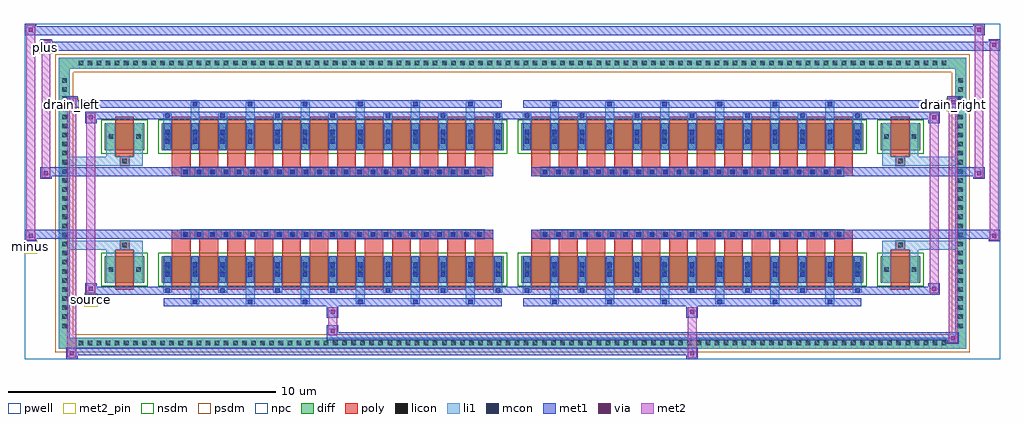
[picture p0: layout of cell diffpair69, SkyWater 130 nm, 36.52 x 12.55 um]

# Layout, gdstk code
import gdstk
lib = gdstk.Library(unit=1e-6, precision=5e-09)
def R(c, l, rs):  # rectangles x0, y0, x1, y1
    for r in rs: c.add(gdstk.rectangle(r[:2], r[2:], *l))
def A(c, l, x, y, w, h, nx, ny, dx, dy):  # array of equal rectangles
    R(c, l, [(x+i*dx, y+j*dy, x+i*dx+w, y+j*dy+h) for i in range(nx) for j in range(ny)])
def P(c, l, *ps):  # polygons
    for p in ps: c.add(gdstk.Polygon(p, *l))
pwell = (64, 44)
diff = (65, 20)
poly = (66, 20)
licon = (66, 44)
li1 = (67, 20)
mcon = (67, 44)
met1 = (68, 20)
via = (68, 44)
met2_pin = (69, 16)
met2 = (69, 20)
nsdm = (93, 44)
psdm = (94, 20)
npc = (95, 20)

diffpair69 = lib.new_cell('diffpair69')
R(diffpair69, pwell, [(-18.24,-5.84,18.24,6.71), (-15.56,-4.03,-0.01,-0.805), (0.01,-4.03,15.56,-0.805), (-15.56,0.805,-0.01,4.03), (0.01,0.805,15.56,4.03)])
A(diffpair69, diff, -16.355, -5.44, 0.41, 0.41, 96, 2, 0.34, 10.47)
A(diffpair69, diff, -16.97, -4.795, 0.41, 0.41, 1, 28, 0, 0.34)
A(diffpair69, diff, 16.56, -4.795, 0.41, 0.41, 1, 28, 0, 0.34)
R(diffpair69, diff, [(-16.355,-5.44,16.355,-5.03), (-16.97,-4.795,-16.56,4.795), (16.56,-4.795,16.97,4.795), (-15.25,-2.985,-13.77,-1.985), (-13.13,-2.985,-0.32,-1.985), (0.32,-2.985,13.13,-1.985), (13.77,-2.985,15.25,-1.985), (-15.25,1.985,-13.77,2.985), (-13.13,1.985,-0.32,2.985), (0.32,1.985,13.13,2.985), (13.77,1.985,15.25,2.985), (-16.355,5.03,16.355,5.44)])
P(diffpair69, diff, [(16.97,5.44),(-16.97,5.44),(-16.97,-5.03),(-16.56,-5.03),(-16.56,5.03),(16.56,5.03),(16.56,-5.03),(-16.56,-5.03),(-16.97,-5.03),(-16.97,-5.44),(16.97,-5.44)])
A(diffpair69, poly, -12.74, -3.235, 0.7, 1.5, 12, 2, 1.03, 4.97)
A(diffpair69, poly, 0.71, -3.235, 0.7, 1.5, 12, 2, 1.03, 4.97)
A(diffpair69, poly, -12.74, -1.735, 0.7, 0.4, 12, 2, 1.03, 3.07)
A(diffpair69, poly, 0.71, -1.735, 0.7, 0.4, 12, 2, 1.03, 3.07)
A(diffpair69, poly, -12.39, -1.335, 0.33, 0.33, 23, 2, 0.5, 2.34)
A(diffpair69, poly, 1.06, -1.335, 0.33, 0.33, 23, 2, 0.5, 2.34)
R(diffpair69, poly, [(-14.86,-3.235,-14.16,-1.735), (14.16,-3.235,14.86,-1.735), (-14.675,-1.735,-14.345,-1.405), (-14.675,-1.735,-14.345,-1.405), (14.345,-1.735,14.675,-1.405), (14.345,-1.735,14.675,-1.405), (-12.74,-1.335,-0.71,-1.005), (0.71,-1.335,12.74,-1.005), (-12.74,1.005,-0.71,1.335), (0.71,1.005,12.74,1.335), (-14.675,1.405,-14.345,1.735), (-14.675,1.405,-14.345,1.735), (14.345,1.405,14.675,1.735), (14.345,1.405,14.675,1.735), (-14.86,1.735,-14.16,3.235), (14.16,1.735,14.86,3.235)])
A(diffpair69, licon, -16.235, -5.32, 0.17, 0.17, 96, 2, 0.34, 10.47)
A(diffpair69, licon, -16.85, -4.675, 0.17, 0.17, 1, 28, 0, 0.34)
A(diffpair69, licon, 16.68, -4.675, 0.17, 0.17, 1, 28, 0, 0.34)
A(diffpair69, licon, -12.99, -2.57, 0.17, 0.17, 13, 2, 1.03, 4.97)
A(diffpair69, licon, 0.46, -2.57, 0.17, 0.17, 13, 2, 1.03, 4.97)
A(diffpair69, licon, -12.31, -1.255, 0.17, 0.17, 23, 2, 0.5, 2.34)
A(diffpair69, licon, 1.14, -1.255, 0.17, 0.17, 23, 2, 0.5, 2.34)
R(diffpair69, licon, [(-15.11,-2.57,-14.94,-2.4), (-14.08,-2.57,-13.91,-2.4), (13.91,-2.57,14.08,-2.4), (14.94,-2.57,15.11,-2.4), (-14.595,-1.655,-14.425,-1.485), (14.425,-1.655,14.595,-1.485), (-14.595,1.485,-14.425,1.655), (14.425,1.485,14.595,1.655), (-15.11,2.4,-14.94,2.57), (-14.08,2.4,-13.91,2.57), (13.91,2.4,14.08,2.57), (14.94,2.4,15.11,2.57)])
A(diffpair69, li1, -16.315, -5.4, 0.33, 0.33, 96, 2, 0.34, 10.47)
A(diffpair69, li1, -16.93, -4.755, 0.33, 0.33, 1, 28, 0, 0.34)
A(diffpair69, li1, 16.6, -4.755, 0.33, 0.33, 1, 28, 0, 0.34)
A(diffpair69, li1, -12.04, -3.79, 0.33, 0.805, 6, 2, 2.06, 6.775)
A(diffpair69, li1, -11.96, -3.79, 0.17, 0.17, 6, 2, 2.06, 7.41)
A(diffpair69, li1, 1.41, -3.79, 0.33, 0.805, 6, 2, 2.06, 6.775)
A(diffpair69, li1, 1.49, -3.79, 0.17, 0.17, 6, 2, 2.06, 7.41)
A(diffpair69, li1, -13.07, -3.36, 0.33, 0.375, 7, 2, 2.06, 6.345)
A(diffpair69, li1, -12.99, -3.36, 0.17, 0.17, 7, 2, 2.06, 6.55)
A(diffpair69, li1, 0.38, -3.36, 0.33, 0.375, 7, 2, 2.06, 6.345)
A(diffpair69, li1, 0.46, -3.36, 0.17, 0.17, 7, 2, 2.06, 6.55)
A(diffpair69, li1, -13.07, -2.985, 0.33, 1, 13, 2, 1.03, 4.97)
A(diffpair69, li1, 0.38, -2.985, 0.33, 1, 13, 2, 1.03, 4.97)
A(diffpair69, li1, -12.99, -2.75, 0.17, 0.17, 13, 2, 1.03, 0.36)
A(diffpair69, li1, -12.99, -2.75, 0.17, 0.53, 13, 2, 1.03, 4.97)
A(diffpair69, li1, 0.46, -2.75, 0.17, 0.17, 13, 2, 1.03, 0.36)
A(diffpair69, li1, 0.46, -2.75, 0.17, 0.53, 13, 2, 1.03, 4.97)
A(diffpair69, li1, -13.07, -2.65, 0.33, 0.33, 13, 2, 1.03, 4.97)
A(diffpair69, li1, 0.38, -2.65, 0.33, 0.33, 13, 2, 1.03, 4.97)
A(diffpair69, li1, -12.39, -1.335, 0.33, 0.33, 23, 2, 0.5, 2.34)
A(diffpair69, li1, 1.06, -1.335, 0.33, 0.33, 23, 2, 0.5, 2.34)
A(diffpair69, li1, -12.99, 2.22, 0.17, 0.17, 13, 2, 1.03, 0.36)
A(diffpair69, li1, 0.46, 2.22, 0.17, 0.17, 13, 2, 1.03, 0.36)
R(diffpair69, li1, [(-16.97,-5.44,-16.56,-5.03), (-16.97,-5.44,-16.56,-5.03), (-16.56,-5.44,16.56,-5.03), (16.56,-5.44,16.97,-5.03), (16.56,-5.44,16.97,-5.03), (-16.97,-5.03,-16.56,5.03), (16.56,-5.03,16.97,5.03), (-15.19,-2.985,-14.86,-1.985), (-14.16,-2.985,-13.83,-1.985), (13.83,-2.985,14.16,-1.985), (14.86,-2.985,15.19,-1.985), (-15.19,-2.65,-14.86,-2.32), (-14.16,-2.65,-13.83,-2.32), (13.83,-2.65,14.16,-2.32), (14.86,-2.65,15.19,-2.32), (-15.19,-1.985,-14.86,-1.405), (-14.16,-1.985,-13.83,-1.405), (13.83,-1.985,14.16,-1.405), (14.86,-1.985,15.19,-1.405), (-16.97,-1.735,-14.675,-1.405), (-15.19,-1.735,-14.675,-1.405), (-14.675,-1.735,-14.345,-1.405), (-14.345,-1.735,-13.83,-1.405), (13.83,-1.735,14.345,-1.405), (14.345,-1.735,14.675,-1.405), (14.345,-1.735,16.97,-1.405), (14.675,-1.735,15.19,-1.405), (-16.97,1.405,-14.675,1.735), (-15.19,1.405,-14.675,1.735), (-15.19,1.405,-14.86,1.985), (-14.675,1.405,-14.345,1.735), (-14.345,1.405,-13.83,1.735), (-14.16,1.405,-13.83,1.985), (13.83,1.405,14.345,1.735), (13.83,1.405,14.16,1.985), (14.345,1.405,14.675,1.735), (14.345,1.405,16.97,1.735), (14.675,1.405,15.19,1.735), (14.86,1.405,15.19,1.985), (-15.19,1.985,-14.86,2.985), (-14.16,1.985,-13.83,2.985), (13.83,1.985,14.16,2.985), (14.86,1.985,15.19,2.985), (-15.19,2.32,-14.86,2.65), (-14.16,2.32,-13.83,2.65), (13.83,2.32,14.16,2.65), (14.86,2.32,15.19,2.65), (-16.97,5.03,-16.56,5.44), (-16.97,5.03,-16.56,5.44), (-16.56,5.03,16.56,5.44), (16.56,5.03,16.97,5.44), (16.56,5.03,16.97,5.44)])
A(diffpair69, mcon, -11.96, -3.79, 0.17, 0.17, 6, 2, 2.06, 7.41)
A(diffpair69, mcon, 1.49, -3.79, 0.17, 0.17, 6, 2, 2.06, 7.41)
A(diffpair69, mcon, -12.99, -3.36, 0.17, 0.17, 7, 2, 2.06, 6.55)
A(diffpair69, mcon, 0.46, -3.36, 0.17, 0.17, 7, 2, 2.06, 6.55)
A(diffpair69, mcon, -12.99, -2.75, 0.17, 0.17, 13, 2, 1.03, 0.36)
A(diffpair69, mcon, 0.46, -2.75, 0.17, 0.17, 13, 2, 1.03, 0.36)
A(diffpair69, mcon, -12.31, -1.255, 0.17, 0.17, 23, 2, 0.5, 2.34)
A(diffpair69, mcon, 1.14, -1.255, 0.17, 0.17, 23, 2, 0.5, 2.34)
A(diffpair69, mcon, -12.99, 2.22, 0.17, 0.17, 13, 2, 1.03, 0.36)
A(diffpair69, mcon, 0.46, 2.22, 0.17, 0.17, 13, 2, 1.03, 0.36)
A(diffpair69, met1, -12.02, -3.85, 0.29, 0.29, 6, 2, 2.06, 7.41)
A(diffpair69, met1, 1.43, -3.85, 0.29, 0.29, 6, 2, 2.06, 7.41)
A(diffpair69, met1, -13.05, -3.42, 0.29, 0.29, 7, 2, 2.06, 6.55)
A(diffpair69, met1, 0.4, -3.42, 0.29, 0.29, 7, 2, 2.06, 6.55)
A(diffpair69, met1, -13.05, -2.985, 0.29, 1, 13, 2, 1.03, 4.97)
A(diffpair69, met1, 0.4, -2.985, 0.29, 1, 13, 2, 1.03, 4.97)
A(diffpair69, met1, -13.05, -2.81, 0.29, 0.29, 13, 2, 1.03, 0.36)
A(diffpair69, met1, 0.4, -2.81, 0.29, 0.29, 13, 2, 1.03, 0.36)
A(diffpair69, met1, -12.37, -1.315, 0.29, 0.29, 23, 2, 0.5, 2.34)
A(diffpair69, met1, 1.08, -1.315, 0.29, 0.29, 23, 2, 0.5, 2.34)
A(diffpair69, met1, -13.05, 2.16, 0.29, 0.29, 13, 2, 1.03, 0.36)
A(diffpair69, met1, 0.4, 2.16, 0.29, 0.29, 13, 2, 1.03, 0.36)
R(diffpair69, met1, [(-16.7,-5.84,-16.27,-5.41), (6.51,-5.84,6.94,-5.41), (-16.7,-5.7,6.94,-5.41), (16.27,-5.27,16.7,-4.84), (-6.94,-5.13,16.7,-4.84), (-6.94,-4.99,-6.51,-4.56), (-6.94,-4.28,-6.51,-3.85), (6.51,-4.28,6.94,-3.85), (-13.05,-3.85,-0.4,-3.56), (0.4,-3.85,13.05,-3.56), (-15.99,-3.42,-15.56,-2.99), (-15.99,-3.42,-13.05,-3.13), (-13.05,-3.42,-0.4,-3.13), (-0.4,-3.42,0.4,-3.13), (0.4,-3.42,13.05,-3.13), (13.05,-3.42,15.99,-3.13), (15.56,-3.42,15.99,-2.99), (-18.24,-1.435,-17.81,-1.005), (17.81,-1.435,18.24,-1.005), (-18.24,-1.335,-0.71,-1.005), (-12.74,-1.335,-0.71,-1.005), (0.71,-1.335,12.74,-1.005), (0.71,-1.335,18.24,-1.005), (-17.67,0.905,-17.24,1.335), (17.24,0.905,17.67,1.335), (-17.67,1.005,-12.74,1.335), (-12.74,1.005,-0.71,1.335), (0.71,1.005,12.74,1.335), (12.74,1.005,17.67,1.335), (-15.99,2.99,-15.56,3.42), (15.56,2.99,15.99,3.42), (-15.99,3.13,-13.05,3.42), (-13.05,3.13,-0.4,3.42), (-0.4,3.13,0.4,3.42), (0.4,3.13,13.05,3.42), (13.05,3.13,15.99,3.42), (-16.7,3.56,-16.27,3.99), (-16.7,3.56,-13.05,3.85), (-13.05,3.56,-0.4,3.85), (0.4,3.56,13.05,3.85), (13.05,3.56,16.7,3.85), (16.27,3.56,16.7,3.99), (-17.67,5.71,-17.24,6.14), (-17.67,5.71,-15.56,6.04), (-15.56,5.71,15.56,6.04), (15.56,5.71,18.24,6.04), (17.81,5.71,18.24,6.14), (-18.24,6.28,-17.81,6.71), (-18.24,6.28,-15.56,6.61), (-15.56,6.28,15.56,6.61), (15.56,6.28,17.67,6.61), (17.24,6.28,17.67,6.71)])
R(diffpair69, via, [(-16.56,-5.7,-16.41,-5.55), (6.65,-5.7,6.8,-5.55), (16.41,-5.13,16.56,-4.98), (-6.8,-4.85,-6.65,-4.7), (-6.8,-4.14,-6.65,-3.99), (6.65,-4.14,6.8,-3.99), (-15.85,-3.28,-15.7,-3.13), (15.7,-3.28,15.85,-3.13), (-18.1,-1.295,-17.95,-1.145), (17.95,-1.295,18.1,-1.145), (-17.53,1.045,-17.38,1.195), (17.38,1.045,17.53,1.195), (-15.85,3.13,-15.7,3.28), (15.7,3.13,15.85,3.28), (-16.56,3.7,-16.41,3.85), (16.41,3.7,16.56,3.85), (-17.53,5.85,-17.38,6), (17.95,5.85,18.1,6), (-18.1,6.42,-17.95,6.57), (17.38,6.42,17.53,6.57)])
R(diffpair69, met2_pin, [(-16.025,-3.87,-15.525,-3.37), (-18.275,-1.885,-17.775,-1.385), (-16.735,3.44,-16.235,3.94), (16.235,3.44,16.735,3.94), (-17.705,5.59,-17.205,6.09)])
R(diffpair69, met2, [(-16.65,-5.79,-16.32,-5.46), (-16.65,-5.79,-16.32,3.94), (6.56,-5.79,6.89,-5.46), (6.56,-5.46,6.89,-4.23), (16.32,-5.22,16.65,-4.89), (16.32,-5.22,16.65,3.94), (-6.89,-4.94,-6.56,-4.61), (-6.89,-4.61,-6.56,-4.23), (-6.89,-4.23,-6.56,-3.9), (6.56,-4.23,6.89,-3.9), (-15.94,-3.37,-15.61,-3.04), (-15.94,-3.37,-15.61,3.37), (15.61,-3.37,15.94,-3.04), (15.61,-3.37,15.94,3.37), (-18.19,-1.385,-17.86,-1.055), (-18.19,-1.385,-17.86,6.66), (17.86,-1.385,18.19,-1.055), (17.86,-1.385,18.19,6.09), (-17.62,0.955,-17.29,1.285), (-17.62,0.955,-17.29,6.09), (17.29,0.955,17.62,1.285), (17.29,0.955,17.62,6.66), (-15.94,3.04,-15.61,3.37), (15.61,3.04,15.94,3.37), (-16.65,3.61,-16.32,3.94), (16.32,3.61,16.65,3.94), (-17.62,5.76,-17.29,6.09), (17.86,5.76,18.19,6.09), (-18.19,6.33,-17.86,6.66), (17.29,6.33,17.62,6.66)])
P(diffpair69, met2, [(18.19,-1.385),(18.19,-1.385),(18.19,-1.055),(18.19,-1.055)],
  [(18.19,5.76),(18.19,5.76),(18.19,6.09),(18.19,6.09)],
  [(-17.86,-1.385),(-17.86,-1.385),(-17.86,-1.055),(-17.86,-1.055)],
  [(-17.86,6.33),(-17.86,6.33),(-17.86,6.66),(-17.86,6.66)],
  [(17.62,0.955),(17.62,0.955),(17.62,1.285),(17.62,1.285)],
  [(17.62,6.33),(17.62,6.33),(17.62,6.66),(17.62,6.66)],
  [(-17.29,0.955),(-17.29,0.955),(-17.29,1.285),(-17.29,1.285)],
  [(-17.29,5.76),(-17.29,5.76),(-17.29,6.09),(-17.29,6.09)],
  [(-16.32,-5.79),(-16.32,-5.79),(-16.32,-5.46),(-16.32,-5.46)],
  [(-16.32,3.61),(-16.32,3.61),(-16.32,3.94),(-16.32,3.94)],
  [(16.65,-5.22),(16.65,-5.22),(16.65,-4.89),(16.65,-4.89)],
  [(16.65,3.61),(16.65,3.61),(16.65,3.94),(16.65,3.94)],
  [(-15.61,-3.37),(-15.61,-3.37),(-15.61,-3.04),(-15.61,-3.04)],
  [(-15.61,3.04),(-15.61,3.04),(-15.61,3.37),(-15.61,3.37)],
  [(15.94,-3.37),(15.94,-3.37),(15.94,-3.04),(15.94,-3.04)],
  [(15.94,3.04),(15.94,3.04),(15.94,3.37),(15.94,3.37)])
R(diffpair69, nsdm, [(-15.38,-3.115,-13.64,-1.855), (-13.26,-3.115,-0.19,-1.855), (0.19,-3.115,13.26,-1.855), (13.64,-3.115,15.38,-1.855), (-15.38,1.855,-13.64,3.115), (-13.26,1.855,-0.19,3.115), (0.19,1.855,13.26,3.115), (13.64,1.855,15.38,3.115)])
P(diffpair69, psdm, [(17.1,5.57),(-17.1,5.57),(-17.1,-4.9),(-16.43,-4.9),(-16.43,4.9),(16.43,4.9),(16.43,-4.9),(-16.43,-4.9),(-17.1,-4.9),(-17.1,-5.57),(17.1,-5.57)])
A(diffpair69, npc, -12.41, -1.355, 0.37, 0.37, 23, 2, 0.5, 2.34)
A(diffpair69, npc, 1.04, -1.355, 0.37, 0.37, 23, 2, 0.5, 2.34)
R(diffpair69, npc, [(-14.695,-1.755,-14.325,-1.385), (14.325,-1.755,14.695,-1.385), (-12.41,-1.355,-11.54,-0.985), (-12.41,-1.355,-11.54,-0.985), (-11.91,-1.355,-11.04,-0.985), (-11.91,-1.355,-11.04,-0.985), (-11.41,-1.355,-10.54,-0.985), (-11.41,-1.355,-10.54,-0.985), (-10.91,-1.355,-10.04,-0.985), (-10.91,-1.355,-10.04,-0.985), (-10.41,-1.355,-9.54,-0.985), (-10.41,-1.355,-9.54,-0.985), (-9.91,-1.355,-9.04,-0.985), (-9.91,-1.355,-9.04,-0.985), (-9.41,-1.355,-8.54,-0.985), (-9.41,-1.355,-8.54,-0.985), (-8.91,-1.355,-8.04,-0.985), (-8.91,-1.355,-8.04,-0.985), (-8.41,-1.355,-7.54,-0.985), (-8.41,-1.355,-7.54,-0.985), (-7.91,-1.355,-7.04,-0.985), (-7.91,-1.355,-7.04,-0.985), (-7.41,-1.355,-6.54,-0.985), (-7.41,-1.355,-6.54,-0.985), (-6.91,-1.355,-6.04,-0.985), (-6.91,-1.355,-6.04,-0.985), (-6.41,-1.355,-5.54,-0.985), (-6.41,-1.355,-5.54,-0.985), (-5.91,-1.355,-5.04,-0.985), (-5.91,-1.355,-5.04,-0.985), (-5.41,-1.355,-4.54,-0.985), (-5.41,-1.355,-4.54,-0.985), (-4.91,-1.355,-4.04,-0.985), (-4.91,-1.355,-4.04,-0.985), (-4.41,-1.355,-3.54,-0.985), (-4.41,-1.355,-3.54,-0.985), (-3.91,-1.355,-3.04,-0.985), (-3.91,-1.355,-3.04,-0.985), (-3.41,-1.355,-2.54,-0.985), (-3.41,-1.355,-2.54,-0.985), (-2.91,-1.355,-2.04,-0.985), (-2.91,-1.355,-2.04,-0.985), (-2.41,-1.355,-1.54,-0.985), (-2.41,-1.355,-1.54,-0.985), (-1.91,-1.355,-1.04,-0.985), (-1.91,-1.355,-1.04,-0.985), (1.04,-1.355,1.91,-0.985), (1.04,-1.355,1.91,-0.985), (1.54,-1.355,2.41,-0.985), (1.54,-1.355,2.41,-0.985), (2.04,-1.355,2.91,-0.985), (2.04,-1.355,2.91,-0.985), (2.54,-1.355,3.41,-0.985), (2.54,-1.355,3.41,-0.985), (3.04,-1.355,3.91,-0.985), (3.04,-1.355,3.91,-0.985), (3.54,-1.355,4.41,-0.985), (3.54,-1.355,4.41,-0.985), (4.04,-1.355,4.91,-0.985), (4.04,-1.355,4.91,-0.985), (4.54,-1.355,5.41,-0.985), (4.54,-1.355,5.41,-0.985), (5.04,-1.355,5.91,-0.985), (5.04,-1.355,5.91,-0.985), (5.54,-1.355,6.41,-0.985), (5.54,-1.355,6.41,-0.985), (6.04,-1.355,6.91,-0.985), (6.04,-1.355,6.91,-0.985), (6.54,-1.355,7.41,-0.985), (6.54,-1.355,7.41,-0.985), (7.04,-1.355,7.91,-0.985), (7.04,-1.355,7.91,-0.985), (7.54,-1.355,8.41,-0.985), (7.54,-1.355,8.41,-0.985), (8.04,-1.355,8.91,-0.985), (8.04,-1.355,8.91,-0.985), (8.54,-1.355,9.41,-0.985), (8.54,-1.355,9.41,-0.985), (9.04,-1.355,9.91,-0.985), (9.04,-1.355,9.91,-0.985), (9.54,-1.355,10.41,-0.985), (9.54,-1.355,10.41,-0.985), (10.04,-1.355,10.91,-0.985), (10.04,-1.355,10.91,-0.985), (10.54,-1.355,11.41,-0.985), (10.54,-1.355,11.41,-0.985), (11.04,-1.355,11.91,-0.985), (11.04,-1.355,11.91,-0.985), (11.54,-1.355,12.41,-0.985), (11.54,-1.355,12.41,-0.985), (-12.41,0.985,-11.54,1.355), (-12.41,0.985,-11.54,1.355), (-11.91,0.985,-11.04,1.355), (-11.91,0.985,-11.04,1.355), (-11.41,0.985,-10.54,1.355), (-11.41,0.985,-10.54,1.355), (-10.91,0.985,-10.04,1.355), (-10.91,0.985,-10.04,1.355), (-10.41,0.985,-9.54,1.355), (-10.41,0.985,-9.54,1.355), (-9.91,0.985,-9.04,1.355), (-9.91,0.985,-9.04,1.355), (-9.41,0.985,-8.54,1.355), (-9.41,0.985,-8.54,1.355), (-8.91,0.985,-8.04,1.355), (-8.91,0.985,-8.04,1.355), (-8.41,0.985,-7.54,1.355), (-8.41,0.985,-7.54,1.355), (-7.91,0.985,-7.04,1.355), (-7.91,0.985,-7.04,1.355), (-7.41,0.985,-6.54,1.355), (-7.41,0.985,-6.54,1.355), (-6.91,0.985,-6.04,1.355), (-6.91,0.985,-6.04,1.355), (-6.41,0.985,-5.54,1.355), (-6.41,0.985,-5.54,1.355), (-5.91,0.985,-5.04,1.355), (-5.91,0.985,-5.04,1.355), (-5.41,0.985,-4.54,1.355), (-5.41,0.985,-4.54,1.355), (-4.91,0.985,-4.04,1.355), (-4.91,0.985,-4.04,1.355), (-4.41,0.985,-3.54,1.355), (-4.41,0.985,-3.54,1.355), (-3.91,0.985,-3.04,1.355), (-3.91,0.985,-3.04,1.355), (-3.41,0.985,-2.54,1.355), (-3.41,0.985,-2.54,1.355), (-2.91,0.985,-2.04,1.355), (-2.91,0.985,-2.04,1.355), (-2.41,0.985,-1.54,1.355), (-2.41,0.985,-1.54,1.355), (-1.91,0.985,-1.04,1.355), (-1.91,0.985,-1.04,1.355), (1.04,0.985,1.91,1.355), (1.04,0.985,1.91,1.355), (1.54,0.985,2.41,1.355), (1.54,0.985,2.41,1.355), (2.04,0.985,2.91,1.355), (2.04,0.985,2.91,1.355), (2.54,0.985,3.41,1.355), (2.54,0.985,3.41,1.355), (3.04,0.985,3.91,1.355), (3.04,0.985,3.91,1.355), (3.54,0.985,4.41,1.355), (3.54,0.985,4.41,1.355), (4.04,0.985,4.91,1.355), (4.04,0.985,4.91,1.355), (4.54,0.985,5.41,1.355), (4.54,0.985,5.41,1.355), (5.04,0.985,5.91,1.355), (5.04,0.985,5.91,1.355), (5.54,0.985,6.41,1.355), (5.54,0.985,6.41,1.355), (6.04,0.985,6.91,1.355), (6.04,0.985,6.91,1.355), (6.54,0.985,7.41,1.355), (6.54,0.985,7.41,1.355), (7.04,0.985,7.91,1.355), (7.04,0.985,7.91,1.355), (7.54,0.985,8.41,1.355), (7.54,0.985,8.41,1.355), (8.04,0.985,8.91,1.355), (8.04,0.985,8.91,1.355), (8.54,0.985,9.41,1.355), (8.54,0.985,9.41,1.355), (9.04,0.985,9.91,1.355), (9.04,0.985,9.91,1.355), (9.54,0.985,10.41,1.355), (9.54,0.985,10.41,1.355), (10.04,0.985,10.91,1.355), (10.04,0.985,10.91,1.355), (10.54,0.985,11.41,1.355), (10.54,0.985,11.41,1.355), (11.04,0.985,11.91,1.355), (11.04,0.985,11.91,1.355), (11.54,0.985,12.41,1.355), (11.54,0.985,12.41,1.355), (-14.695,1.385,-14.325,1.755), (14.325,1.385,14.695,1.755)])
diffpair69.add(gdstk.Label('minus', (-18.025,-1.635), layer=69, texttype=5))
diffpair69.add(gdstk.Label('drain_right', (16.485,3.69), layer=69, texttype=5))
diffpair69.add(gdstk.Label('drain_left', (-16.485,3.69), layer=69, texttype=5))
diffpair69.add(gdstk.Label('source', (-15.775,-3.62), layer=69, texttype=5))
diffpair69.add(gdstk.Label('plus', (-17.455,5.84), layer=69, texttype=5))

lib.write_gds('diffpair69.gds')
